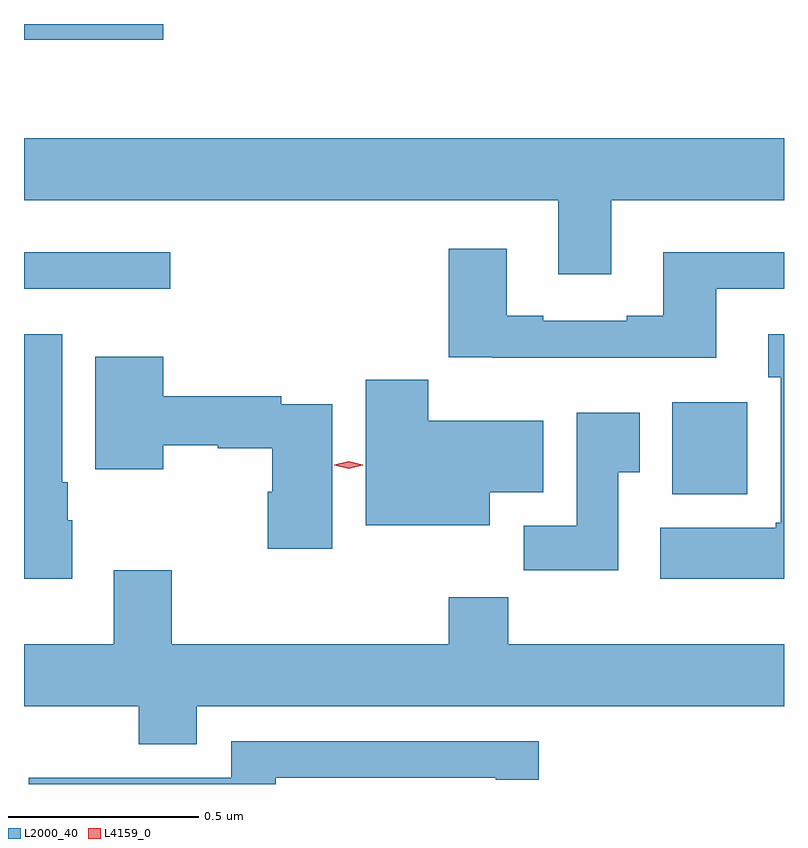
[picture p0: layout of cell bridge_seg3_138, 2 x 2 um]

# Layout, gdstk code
import gdstk
lib = gdstk.Library(unit=1e-6, precision=1e-09)
def R(c, l, rs):  # rectangles x0, y0, x1, y1
    for r in rs: c.add(gdstk.rectangle(r[:2], r[2:], *l))
def P(c, l, *ps):  # polygons
    for p in ps: c.add(gdstk.Polygon(p, *l))
L2000_40 = (2000, 40)
L4159_0 = (4159, 0)

bridge_seg3_138 = lib.new_cell('bridge_seg3_138')
R(bridge_seg3_138, L2000_40, [(327.569,700.142,327.766,700.384), (325.863,700.683,326.248,700.78), (325.863,701.339,326.23,701.38)])
P(bridge_seg3_138, L2000_40, [(327.409,700.916),(327.863,700.916),(327.863,701.08),(325.863,701.08),(325.863,700.916),(327.269,700.916),(327.269,700.722),(327.409,700.722)],
  [(327.685,700.683),(327.863,700.683),(327.863,700.78),(327.545,700.78),(327.545,700.612),(327.449,700.612),(327.449,700.599),(327.229,700.599),(327.229,700.612),(327.133,700.612),(327.133,700.789),(326.981,700.789),(326.981,700.503),(327.097,700.503),(327.097,700.502),(327.685,700.502)],
  [(327.863,700.564),(327.821,700.564),(327.821,700.451),(327.854,700.451),(327.854,700.068),(327.841,700.068),(327.841,700.054),(327.537,700.054),(327.537,699.92),(327.863,699.92)],
  [(325.99,700.074),(325.978,700.074),(325.978,700.174),(325.963,700.174),(325.963,700.564),(325.863,700.564),(325.863,699.92),(325.99,699.92)],
  [(326.674,700.38),(326.54,700.38),(326.54,700.4),(326.23,700.4),(326.23,700.504),(326.051,700.504),(326.051,700.208),(326.23,700.208),(326.23,700.272),(326.373,700.272),(326.373,700.264),(326.516,700.264),(326.516,700.149),(326.504,700.149),(326.504,699.999),(326.674,699.999)],
  [(327.088,700.148),(327.229,700.148),(327.229,700.336),(326.927,700.336),(326.927,700.444),(326.762,700.444),(326.762,700.061),(327.088,700.061)],
  [(327.427,700.201),(327.484,700.201),(327.484,700.357),(327.317,700.357),(327.317,700.06),(327.178,700.06),(327.178,699.942),(327.427,699.942)],
  [(326.317,699.584),(327.863,699.584),(327.863,699.748),(327.137,699.748),(327.137,699.872),(326.981,699.872),(326.981,699.748),(326.252,699.748),(326.252,699.943),(326.099,699.943),(326.099,699.748),(325.863,699.748),(325.863,699.584),(326.165,699.584),(326.165,699.485),(326.317,699.485)],
  [(326.525,699.396),(327.104,699.396),(327.104,699.391),(327.217,699.391),(327.217,699.492),(326.409,699.492),(326.409,699.396),(325.875,699.396),(325.875,699.38),(326.525,699.38)])
P(bridge_seg3_138, L4159_0, [(326.718,700.209),(326.68,700.219),(326.679,700.219),(326.68,700.22),(326.718,700.229),(326.755,700.22),(326.756,700.219),(326.755,700.219)])

lib.write_gds('bridge_seg3_138.gds')
